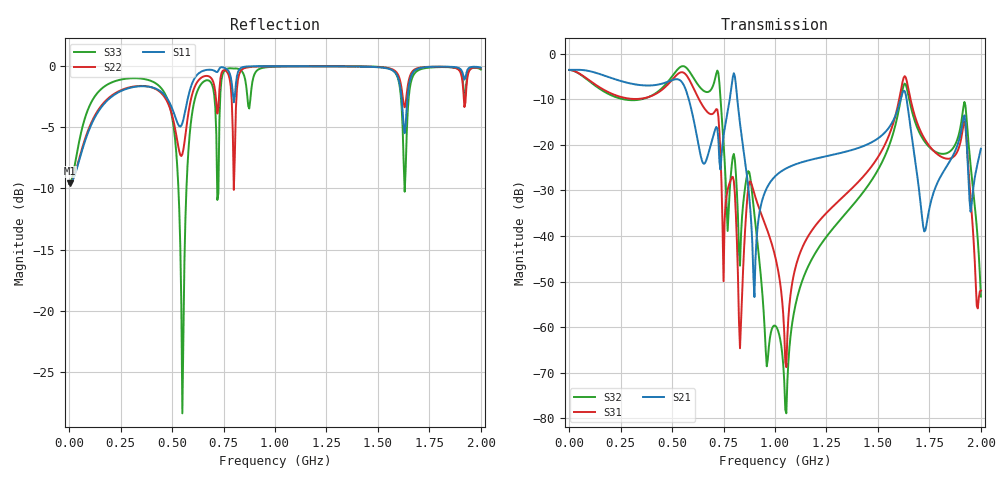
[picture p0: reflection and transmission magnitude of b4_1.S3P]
!Generated from: C:\Users\nkfzm\OneDrive - University of Missouri\Desktop\Research\Code\PDN\input files\board 4.1\b4_1.spd
! Port1_ic_port_1::pwr
! Port2_decap_port1_1::pwr
! Port3_decap_port2_1::pwr
!Layout Workbench Version: 24.1.0.10141.541387  000
!Computer Host Name: RS29JQCX3
!TouchstoneFormatFlag = 1
! GNDNET gnd
! NETSLIST
#	Hz	Z	RI	R	1
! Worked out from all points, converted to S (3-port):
!   625 points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, 100 mHz to 2 GHz, reference 1 ohm
!   strongest paths, dB at 100 mHz, 164 MHz, 476 MHz, 1.22 GHz, 2 GHz:
!     S21: -3.5, -4.7, -6.2, -22.8, -20.8
!     S31: -3.5, -7.8, -6.9, -36.4, -52.0
!     S32: -3.5, -8.1, -6.4, -42.0, -53.3
!   lowest |S11| = -9.6 dB at 2 MHz (marker M1), VSWR 1.99, Z = 0.503 + j0.0194 ohm
!   |S11| at or under -10 dB: nowhere
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0.1  2.282e+09 -8.391e+09  2.282e+09 -8.391e+09  2.282e+09 -8.391e+09
     2.282e+09 -8.391e+09  2.282e+09 -8.391e+09  2.282e+09 -8.391e+09
     2.282e+09 -8.391e+09  2.282e+09 -8.391e+09  2.282e+09 -8.391e+09
2000000  0.00231 -437  0.000642 -437  -0.000245 -437
         0.000642 -437  0.0023 -437  -0.00037 -437
         -0.000245 -437  -0.00037 -437  0.00223 -437
7.15e8  0.1026 3.969  0.1141 -0.5946  -0.0582 0.9638
        0.1141 -0.5946  0.1969 2.462  -0.0967 2.107
        -0.0582 0.9638  -0.0967 2.107  0.1742 0.3177
8.3e8  0.0634 4.631  0.0468 -0.9576  -0.00491 -0.0768
       0.0468 -0.9576  0.0913 2.222  -0.0109 0.2764
       -0.00491 -0.0768  -0.0109 0.2764  38.22 -26.32
8.8e8  0.0527 5.528  0.0268 -0.2036  -0.00147 -0.1397
       0.0268 -0.2036  0.0593 3.503  -0.00572 0.1009
       -0.00147 -0.1397  -0.00572 0.1009  0.1686 0.2783
1.005e9  0.0577 7.361  0.0248 0.9375  0.0035 -0.0793
         0.0248 0.9375  0.0532 5.478  0.000238 -0.0205
         0.0035 -0.0793  0.000238 -0.0205  0.0527 3.697
1.63e9  0.2938 7.967  0.2233 -0.6533  0.0222 -6.157
        0.2233 -0.6533  0.2468 9.043  -0.00312 -5.662
        0.0222 -6.157  -0.00312 -5.662  0.1605 8.839
1.73e9  0.4167 13.86  0.3871 4.417  -0.2026 -7.267
        0.3871 4.417  0.4579 14.76  -0.2447 -7.378
        -0.2026 -7.267  -0.2447 -7.378  0.3142 12.65
1.92e9  0.829 9.881  0.8091 -3.309  -0.3888 3.533
        0.8091 -3.309  0.91 5.718  -0.4618 4.844
        -0.3888 3.533  -0.4618 4.844  0.6918 7.323
2e9  30.9 -3.592  28.64 -15.78  -0.1081 0.8734
     28.64 -15.78  26.65 -4.577  -0.1345 1.67
     -0.1081 0.8734  -0.1345 1.67  22.1 28.22
